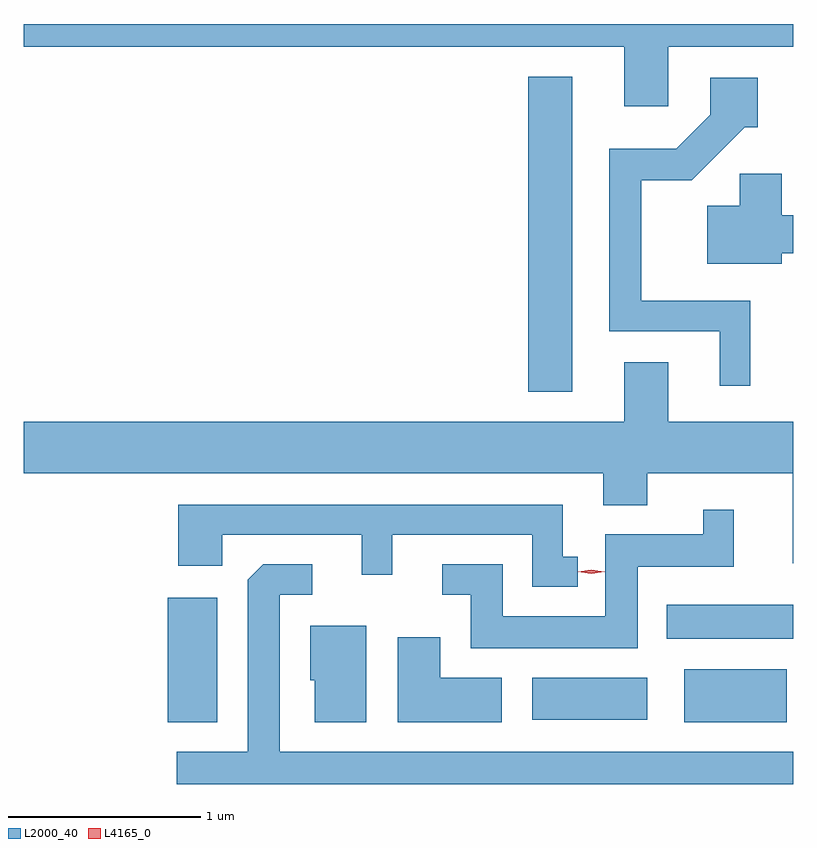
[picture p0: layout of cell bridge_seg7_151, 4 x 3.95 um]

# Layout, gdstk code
import gdstk
lib = gdstk.Library(unit=1e-6, precision=1e-09)
def R(c, l, rs):  # rectangles x0, y0, x1, y1
    for r in rs: c.add(gdstk.rectangle(r[:2], r[2:], *l))
def P(c, l, *ps):  # polygons
    for p in ps: c.add(gdstk.Polygon(p, *l))
L2000_40 = (2000, 40)
L4165_0 = (4165, 0)

bridge_seg7_151 = lib.new_cell('bridge_seg7_151')
R(bridge_seg7_151, L2000_40, [(1628.296,1721.901,1628.554,1722.549), (1630.981,1721.901,1631.514,1722.179), (1630.191,1721.916,1630.789,1722.134), (1630.891,1722.336,1631.548,1722.514), (1630.171,1723.621,1630.399,1725.259)])
P(bridge_seg7_151, L2000_40, [(1630.899,1725.416),(1631.548,1725.416),(1631.548,1725.533),(1627.548,1725.533),(1627.548,1725.416),(1630.671,1725.416),(1630.671,1725.106),(1630.899,1725.106)],
  [(1631.324,1724.094),(1630.759,1724.094),(1630.759,1724.721),(1631.022,1724.721),(1631.297,1724.996),(1631.364,1724.996),(1631.364,1725.254),(1631.116,1725.254),(1631.116,1725.062),(1630.939,1724.884),(1630.591,1724.884),(1630.591,1723.936),(1631.166,1723.936),(1631.166,1723.653),(1631.324,1723.653)],
  [(1631.489,1724.341),(1631.548,1724.341),(1631.548,1724.539),(1631.489,1724.539),(1631.489,1724.754),(1631.271,1724.754),(1631.271,1724.589),(1631.101,1724.589),(1631.101,1724.286),(1631.489,1724.286)],
  [(1631.548,1723.464),(1630.899,1723.464),(1630.899,1723.774),(1630.671,1723.774),(1630.671,1723.464),(1627.548,1723.464),(1627.548,1723.196),(1630.561,1723.196),(1630.561,1723.031),(1630.789,1723.031),(1630.789,1723.196),(1631.546,1723.196),(1631.546,1722.728),(1631.548,1722.728)],
  [(1630.428,1722.764),(1630.349,1722.764),(1630.349,1723.034),(1628.351,1723.034),(1628.351,1722.716),(1628.579,1722.716),(1628.579,1722.876),(1629.306,1722.876),(1629.306,1722.668),(1629.464,1722.668),(1629.464,1722.876),(1630.191,1722.876),(1630.191,1722.606),(1630.428,1722.606)],
  [(1630.739,1722.711),(1631.239,1722.711),(1631.239,1723.008),(1631.081,1723.008),(1631.081,1722.879),(1630.571,1722.879),(1630.571,1722.454),(1630.039,1722.454),(1630.039,1722.724),(1629.723,1722.724),(1629.723,1722.566),(1629.871,1722.566),(1629.871,1722.286),(1630.739,1722.286)],
  [(1631.548,1721.749),(1628.879,1721.749),(1628.879,1722.566),(1629.048,1722.566),(1629.048,1722.724),(1628.792,1722.724),(1628.711,1722.644),(1628.711,1721.749),(1628.343,1721.749),(1628.343,1721.581),(1631.548,1721.581)],
  [(1629.329,1722.404),(1629.036,1722.404),(1629.036,1722.121),(1629.061,1722.121),(1629.061,1721.901),(1629.329,1721.901)],
  [(1630.034,1722.134),(1629.714,1722.134),(1629.714,1722.344),(1629.491,1722.344),(1629.491,1721.901),(1630.034,1721.901)])
P(bridge_seg7_151, L4165_0, [(1630.498,1722.675),(1630.429,1722.684),(1630.429,1722.685),(1630.429,1722.685),(1630.498,1722.695),(1630.568,1722.685),(1630.568,1722.685),(1630.568,1722.684)])

lib.write_gds('bridge_seg7_151.gds')
